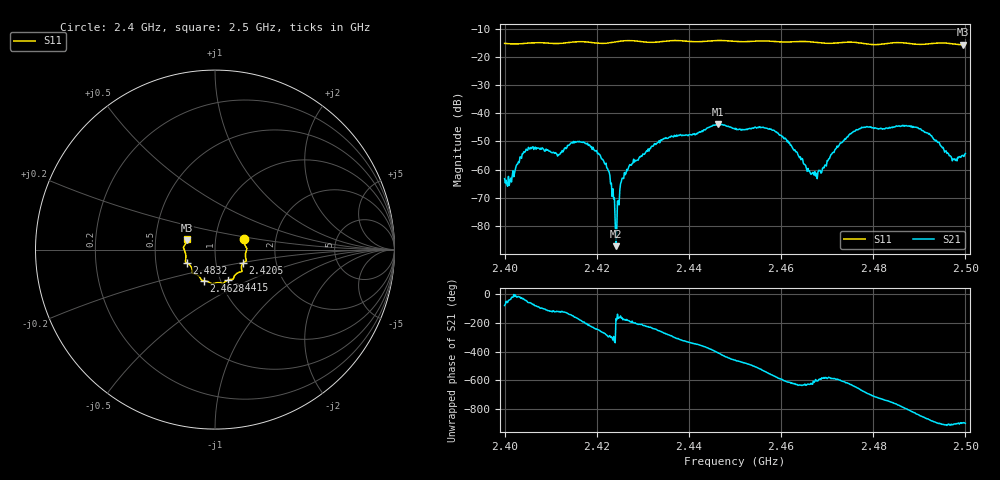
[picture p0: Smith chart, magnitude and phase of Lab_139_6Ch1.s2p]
# Hz S RI R 50
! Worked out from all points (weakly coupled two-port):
!   601 points, 2.4 GHz to 2.5 GHz, reference 50 ohm
!   highest |S21| = -43.90 dB at 2.4463 GHz (marker M1); lowest = -87.1 dB at 2.4242 GHz (marker M2)
!   lowest |S11| = -15.8 dB at 2.4995 GHz (marker M3), VSWR 1.39, Z = 36.4 + j3.84 ohm
!   |S11| at or under -10 dB: start of sweep to end of sweep
!   S12 and S22 are empty: the file has one direction only
!   S11 on the Smith chart (normalised r, x): 2.4 GHz: 1.38, +0.16; 2.4205 GHz: 1.35, -0.21; 2.4415 GHz: 1.09, -0.38; 2.4628 GHz: 0.83, -0.30; 2.4832 GHz: 0.72, -0.11; 2.5 GHz: 0.73, +0.09
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2.4e9  0.1629 0.0564  9.6e-05 -0.00069  0 0  0 0
2.405167e9  0.174 0.0122  0.00118 -0.00219  0 0  0 0
2.411833e9  0.1693 -0.0296  -0.00108 -0.00149  0 0  0 0
2.416667e9  0.1741 -0.0626  -0.00304 0.000368  0 0  0 0
2.4205e9  0.1553 -0.0763  -0.000566 0.0018  0 0  0 0
2.422333e9  0.1479 -0.092  0.00039 0.000975  0 0  0 0
2.424167e9  0.1477 -0.1088  -4.4e-05 -5.8e-06  0 0  0 0
2.426833e9  0.1501 -0.1215  -0.00105 0.000114  0 0  0 0
2.433333e9  0.1077 -0.1473  -0.000777 0.00298  0 0  0 0
2.4415e9  0.0733 -0.1692  0.00415 0.000843  0 0  0 0
2.446333e9  0.0471 -0.1885  0.00421 -0.0048  0 0  0 0
2.45e9  0.0296 -0.1849  -0.000808 -0.00517  0 0  0 0
2.458e9  -0.0245 -0.1859  -0.00471 0.00183  0 0  0 0
2.462833e9  -0.0622 -0.1736  -0.000238 0.00218  0 0  0 0
2.466667e9  -0.0765 -0.1666  -7.16e-05 0.000845  0 0  0 0
2.476e9  -0.1258 -0.1285  0.00101 0.00468  0 0  0 0
2.483167e9  -0.1553 -0.0752  0.00501 -0.00192  0 0  0 0
2.483333e9  -0.1564 -0.0745  0.00501 -0.00216  0 0  0 0
2.489833e9  -0.1624 -0.0317  -0.00246 -0.00479  0 0  0 0
2.497333e9  -0.1665 0.0279  -0.00154 0.000132  0 0  0 0
2.4995e9  -0.1548 0.0513  -0.00178 -0.00022  0 0  0 0
2.5e9  -0.1533 0.0579  -0.00194 -0.000136  0 0  0 0
